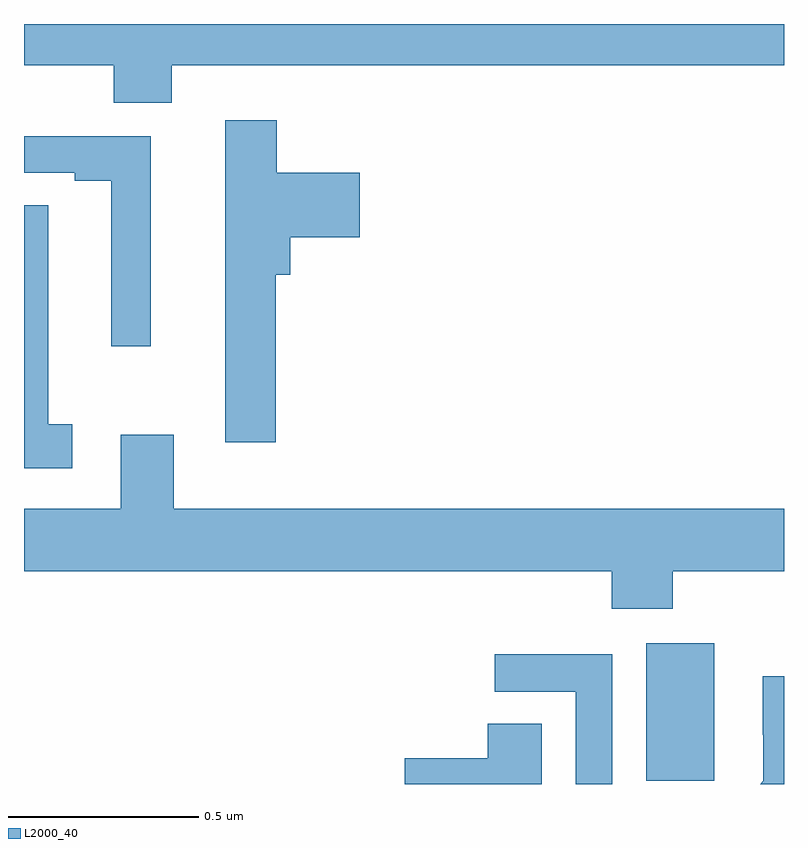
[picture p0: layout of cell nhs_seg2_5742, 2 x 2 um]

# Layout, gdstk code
import gdstk
lib = gdstk.Library(unit=1e-6, precision=1e-09)
def R(c, l, rs):  # rectangles x0, y0, x1, y1
    for r in rs: c.add(gdstk.rectangle(r[:2], r[2:], *l))
def P(c, l, *ps):  # polygons
    for p in ps: c.add(gdstk.Polygon(p, *l))
L2000_40 = (2000, 40)

nhs_seg2_5742 = lib.new_cell('nhs_seg2_5742')
R(nhs_seg2_5742, L2000_40, [(184.637,589.809,184.816,590.17)])
P(nhs_seg2_5742, L2000_40, [(183.389,591.692),(185,591.692),(185,591.8),(183,591.8),(183,591.692),(183.236,591.692),(183.236,591.593),(183.389,591.593)],
  [(183.662,591.14),(183.701,591.14),(183.701,591.239),(183.883,591.239),(183.883,591.409),(183.665,591.409),(183.665,591.547),(183.53,591.547),(183.53,590.7),(183.662,590.7)],
  [(183.334,591.504),(183,591.504),(183,591.408),(183.134,591.408),(183.134,591.388),(183.23,591.388),(183.23,590.952),(183.334,590.952)],
  [(183.127,590.747),(183.064,590.747),(183.064,591.323),(183,591.323),(183,590.631),(183.127,590.631)],
  [(184.707,590.36),(185,590.36),(185,590.524),(183.394,590.524),(183.394,590.719),(183.254,590.719),(183.254,590.524),(183,590.524),(183,590.36),(184.547,590.36),(184.547,590.261),(184.707,590.261)],
  [(184.548,590.142),(184.239,590.142),(184.239,590.043),(184.452,590.043),(184.452,589.8),(184.548,589.8)],
  [(185,590.084),(184.944,590.084),(184.944,589.93),(184.946,589.93),(184.946,589.808),(184.938,589.8),(185,589.8)],
  [(184.363,589.958),(184.22,589.958),(184.22,589.868),(184.002,589.868),(184.002,589.8),(184.363,589.8)])

lib.write_gds('nhs_seg2_5742.gds')
